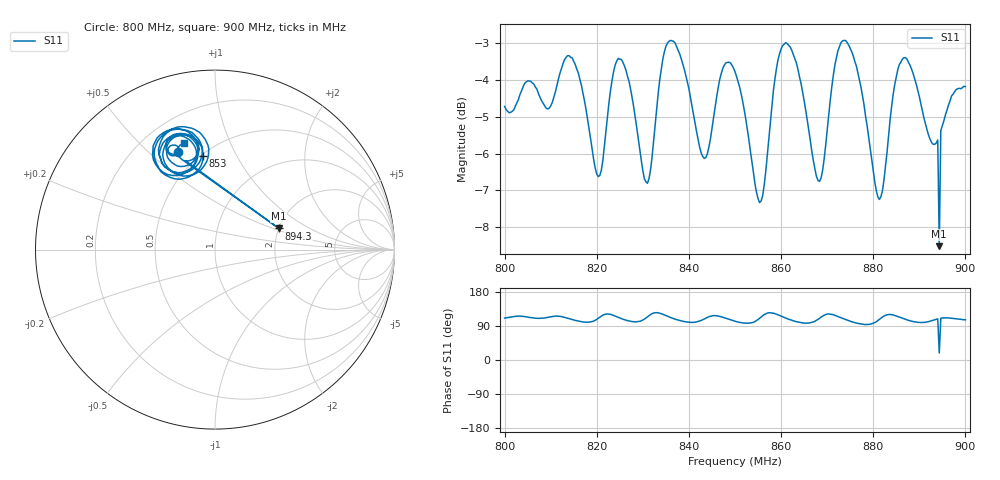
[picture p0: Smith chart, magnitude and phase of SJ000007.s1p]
!File created by NanoVNA-F V2
# Hz S RI R 50
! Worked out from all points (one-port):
!   301 points, 800 MHz to 900 MHz, reference 50 ohm
!   lowest |S11| = -8.5 dB at 894.3 MHz (marker M1), VSWR 2.20, Z = 100 + j27.5 ohm
!   |S11| at or under -10 dB: nowhere
!   S11 on the Smith chart (normalised r, x): 800 MHz: 0.38, +0.62; 853 MHz: 0.52, +0.74; 894.3 MHz: 2.01, +0.55; 900 MHz: 0.36, +0.69
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8e8  -0.2048 0.5435
8.126667e8  -0.2654 0.6082
8.176666e8  -0.0966 0.5672
8.21e8  -0.2086 0.4278
8.25e8  -0.2408 0.6285
8.286666e8  -0.1027 0.5342
8.316666e8  -0.2373 0.4129
8.343333e8  -0.3445 0.5784
8.376666e8  -0.1828 0.6676
8.44e8  -0.1909 0.4629
8.466666e8  -0.2693 0.5708
8.5e8  -0.1382 0.6325
8.529999e8  -0.0661 0.5199
8.559999e8  -0.1974 0.3922
8.583333e8  -0.3364 0.5089
8.626666e8  -0.1575 0.6641
8.659999e8  -0.0705 0.5355
8.686666e8  -0.1809 0.4273
8.713333e8  -0.3149 0.557
8.749999e8  -0.1493 0.6804
8.789999e8  -0.0366 0.5267
8.819999e8  -0.1769 0.4095
8.843332e8  -0.2914 0.5284
8.876666e8  -0.1679 0.6445
8.939999e8  -0.1655 0.4961
8.943332e8  0.3562 0.1179
8.946666e8  -0.1878 0.5048
8.999999e8  -0.1705 0.5938
